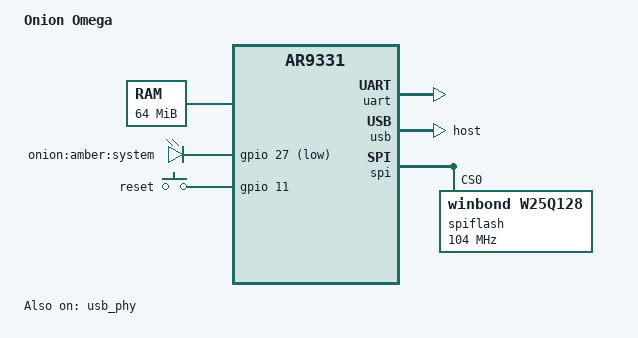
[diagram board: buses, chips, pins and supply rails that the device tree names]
// SPDX-License-Identifier: GPL-2.0
/dts-v1/;

#include <dt-bindings/gpio/gpio.h>
#include <dt-bindings/input/input.h>

#include "ar9331.dtsi"

/ {
	model = "Onion Omega";
	compatible = "onion,omega";

	aliases {
		serial0 = &uart;
	};

	memory@0 {
		device_type = "memory";
		reg = <0x0 0x4000000>;
	};

	leds {
		compatible = "gpio-leds";

		system {
			label = "onion:amber:system";
			gpios = <&gpio 27 GPIO_ACTIVE_LOW>;
			default-state = "off";
		};
	};

	gpio-keys {
		compatible = "gpio-keys";

		button-0 {
			label = "reset";
			linux,code = <KEY_RESTART>;
			gpios = <&gpio 11 GPIO_ACTIVE_HIGH>;
		};
	};
};

&ref {
	clock-frequency = <25000000>;
};

&uart {
	status = "okay";
};

&gpio {
	status = "okay";
};

&usb {
	dr_mode = "host";
	status = "okay";
};

&usb_phy {
	status = "okay";
};

&spi {
	num-chipselects = <1>;
	status = "okay";

	/* Winbond 25Q128FVSG SPI flash */
	spiflash: w25q128@0 {
		#address-cells = <1>;
		#size-cells = <1>;
		compatible = "winbond,w25q128", "jedec,spi-nor";
		spi-max-frequency = <104000000>;
		reg = <0>;
	};
};
